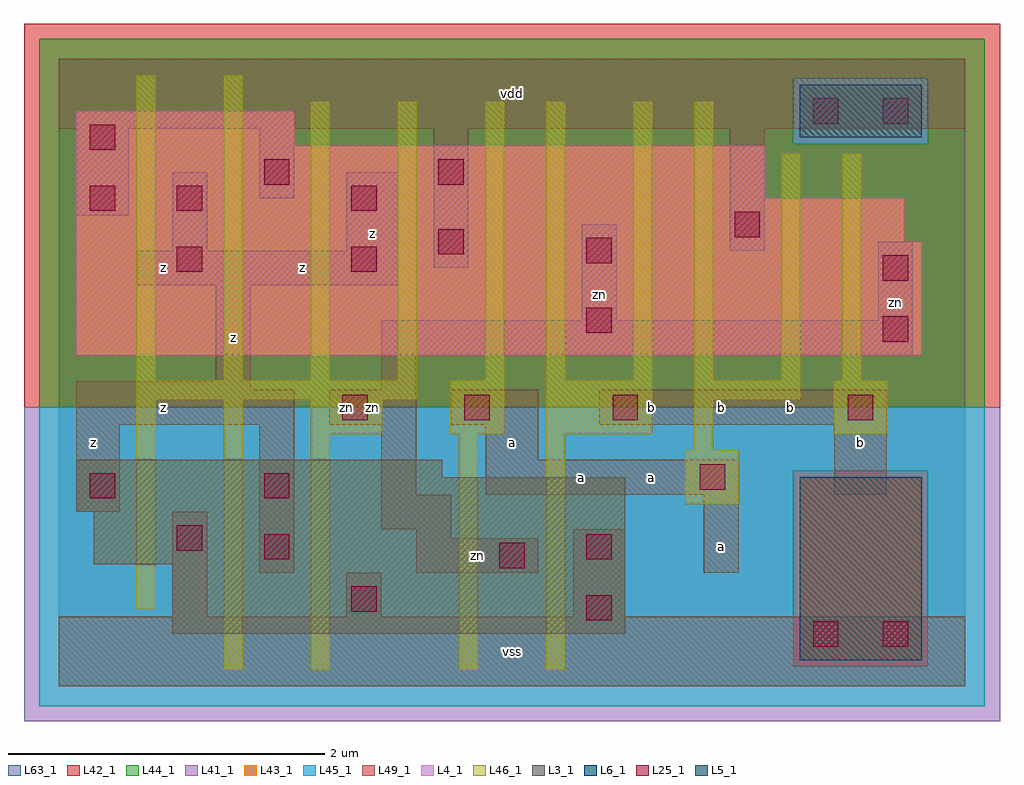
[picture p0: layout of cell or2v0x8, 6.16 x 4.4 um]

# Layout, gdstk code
import gdstk
lib = gdstk.Library(unit=1e-6, precision=1e-09)
def R(c, l, rs):  # rectangles x0, y0, x1, y1
    for r in rs: c.add(gdstk.rectangle(r[:2], r[2:], *l))
def A(c, l, x, y, w, h, nx, ny, dx, dy):  # array of equal rectangles
    R(c, l, [(x+i*dx, y+j*dy, x+i*dx+w, y+j*dy+h) for i in range(nx) for j in range(ny)])
L3_1 = (3, 1)
L4_1 = (4, 1)
L5_1 = (5, 1)
L6_1 = (6, 1)
L25_1 = (25, 1)
L41_1 = (41, 1)
L42_1 = (42, 1)
L43_1 = (43, 1)
L44_1 = (44, 1)
L45_1 = (45, 1)
L46_1 = (46, 1)
L49_1 = (49, 1)
L63_1 = (63, 1)

or2v0x8 = lib.new_cell('or2v0x8')
R(or2v0x8, L3_1, [(0.715,0.33,3.575,0.77), (0.22,0.77,3.575,1.1), (0.11,1.1,3.575,1.32), (0.11,1.32,2.42,1.43)])
R(or2v0x8, L4_1, [(0.11,2.09,5.445,2.805), (0.11,2.805,5.335,3.08), (0.11,3.08,4.455,3.41), (0.11,3.41,1.485,3.63)])
R(or2v0x8, L5_1, [(4.675,3.465,5.445,3.795)])
R(or2v0x8, L6_1, [(4.675,0.165,5.445,1.32)])
R(or2v0x8, L25_1, [(4.76,0.25,4.92,0.41), (5.2,0.25,5.36,0.41), (3.33,0.415,3.49,0.575), (1.845,0.47,2.005,0.63), (2.78,0.745,2.94,0.905), (1.295,0.8,1.455,0.96), (3.33,0.8,3.49,0.96), (0.745,0.855,0.905,1.015), (0.195,1.185,0.355,1.345), (1.295,1.185,1.455,1.345), (4.045,1.24,4.205,1.4), (1.79,1.68,1.95,1.84), (2.56,1.68,2.72,1.84), (3.495,1.68,3.655,1.84), (4.98,1.68,5.14,1.84), (5.2,2.175,5.36,2.335), (3.33,2.23,3.49,2.39), (5.2,2.56,5.36,2.72), (0.745,2.615,0.905,2.775), (1.845,2.615,2.005,2.775), (3.33,2.67,3.49,2.83), (2.395,2.725,2.555,2.885), (4.265,2.835,4.425,2.995), (0.195,3,0.355,3.16), (0.745,3,0.905,3.16), (1.845,3,2.005,3.16), (1.295,3.165,1.455,3.325), (2.395,3.165,2.555,3.325), (0.195,3.385,0.355,3.545), (4.76,3.55,4.92,3.71), (5.2,3.55,5.36,3.71)])
R(or2v0x8, L41_1, [(-0.22,-0.22,5.94,1.76)])
R(or2v0x8, L42_1, [(-0.22,1.76,5.94,4.18)])
R(or2v0x8, L43_1, [(4.675,0.165,5.445,1.32), (0.715,0.33,3.575,0.77), (0.22,0.77,3.575,1.1), (0.11,1.1,3.575,1.32), (0.11,1.32,2.42,1.43), (0.11,2.09,5.445,2.805), (0.11,2.805,5.335,3.08), (0.11,3.08,4.455,3.41), (0.11,3.41,1.485,3.63), (4.675,3.465,5.445,3.795)])
R(or2v0x8, L44_1, [(4.635,0.125,5.485,1.36), (-0.125,1.76,5.845,3.425), (-0.125,3.425,4.635,3.835), (5.485,3.425,5.845,3.835), (-0.125,3.835,5.845,4.085)])
R(or2v0x8, L45_1, [(-0.125,-0.125,5.845,0.125), (-0.125,0.125,4.635,1.36), (5.485,0.125,5.845,1.36), (-0.125,1.36,5.845,1.76), (4.635,3.425,5.485,3.835)])
A(or2v0x8, L46_1, 1.59, 1.93, 0.12, 1.76, 3, 1, 0.55, 0)
R(or2v0x8, L46_1, [(1.04,0.105,1.16,1.81), (1.59,0.105,1.71,1.59), (2.525,0.105,2.645,1.59), (3.075,0.105,3.195,1.59), (0.49,0.49,0.61,1.81), (3.955,1.15,4.295,1.49), (4.01,1.49,4.13,1.81), (1.59,1.59,2.04,1.81), (2.47,1.59,2.81,1.93), (3.075,1.59,3.745,1.93), (4.89,1.59,5.23,1.93), (0.49,1.81,2.26,1.93), (4.01,1.81,4.68,1.93), (0.49,1.93,0.61,3.855), (1.04,1.93,1.16,3.855), (3.075,1.93,3.195,3.69), (3.625,1.93,3.745,3.69), (4.01,1.93,4.13,3.69), (4.56,1.93,4.68,3.36), (4.945,1.93,5.065,3.36)])
R(or2v0x8, L49_1, [(0,0,5.72,0.44), (0.715,0.44,0.935,1.1), (1.815,0.44,2.035,0.715), (3.245,0.44,3.575,0.99), (1.265,0.715,1.485,1.65), (2.255,0.715,3.025,0.935), (4.07,0.715,4.29,1.21), (2.255,0.935,2.475,0.99), (2.035,0.99,2.475,1.21), (0.11,1.1,0.385,1.65), (2.035,1.21,2.255,1.65), (2.695,1.21,4.29,1.43), (4.895,1.21,5.225,1.65), (2.695,1.43,3.025,1.65), (0.11,1.65,1.485,1.87), (1.705,1.65,2.255,1.87), (2.475,1.65,3.025,1.87), (3.41,1.65,5.225,1.87), (0.11,1.87,1.21,1.925), (2.035,1.87,2.255,2.09), (0.99,1.925,1.21,2.53), (2.035,2.09,5.39,2.31), (3.3,2.31,3.52,2.915), (5.17,2.31,5.39,2.805), (0.495,2.53,2.145,2.75), (2.365,2.64,2.585,3.52), (0.715,2.75,0.935,3.245), (1.815,2.75,2.145,3.245), (4.235,2.75,4.455,3.52), (0.11,2.97,0.44,3.52), (1.265,3.08,1.485,3.52), (0,3.52,5.72,3.96)])
R(or2v0x8, L63_1, [(0,0,5.72,3.96)])
or2v0x8.add(gdstk.Label('zn', (1.815,1.76), layer=49, texttype=1))
or2v0x8.add(gdstk.Label('z', (0.66,1.76), layer=49, texttype=1))
or2v0x8.add(gdstk.Label('z', (0.22,1.54), layer=49, texttype=1))
or2v0x8.add(gdstk.Label('z', (0.66,2.64), layer=49, texttype=1))
or2v0x8.add(gdstk.Label('z', (1.1,2.2), layer=49, texttype=1))
or2v0x8.add(gdstk.Label('z', (1.98,2.86), layer=49, texttype=1))
or2v0x8.add(gdstk.Label('z', (1.54,2.64), layer=49, texttype=1))
or2v0x8.add(gdstk.Label('vss', (2.86,0.22), layer=49, texttype=1))
or2v0x8.add(gdstk.Label('zn', (2.64,0.825), layer=49, texttype=1))
or2v0x8.add(gdstk.Label('a', (3.3,1.32), layer=49, texttype=1))
or2v0x8.add(gdstk.Label('a', (2.86,1.54), layer=49, texttype=1))
or2v0x8.add(gdstk.Label('zn', (1.98,1.76), layer=49, texttype=1))
or2v0x8.add(gdstk.Label('vdd', (2.86,3.74), layer=49, texttype=1))
or2v0x8.add(gdstk.Label('a', (4.18,0.88), layer=49, texttype=1))
or2v0x8.add(gdstk.Label('a', (3.74,1.32), layer=49, texttype=1))
or2v0x8.add(gdstk.Label('b', (3.74,1.76), layer=49, texttype=1))
or2v0x8.add(gdstk.Label('b', (4.18,1.76), layer=49, texttype=1))
or2v0x8.add(gdstk.Label('zn', (3.41,2.475), layer=49, texttype=1))
or2v0x8.add(gdstk.Label('b', (5.06,1.54), layer=49, texttype=1))
or2v0x8.add(gdstk.Label('b', (4.62,1.76), layer=49, texttype=1))
or2v0x8.add(gdstk.Label('zn', (5.28,2.42), layer=49, texttype=1))

lib.write_gds('or2v0x8.gds')
